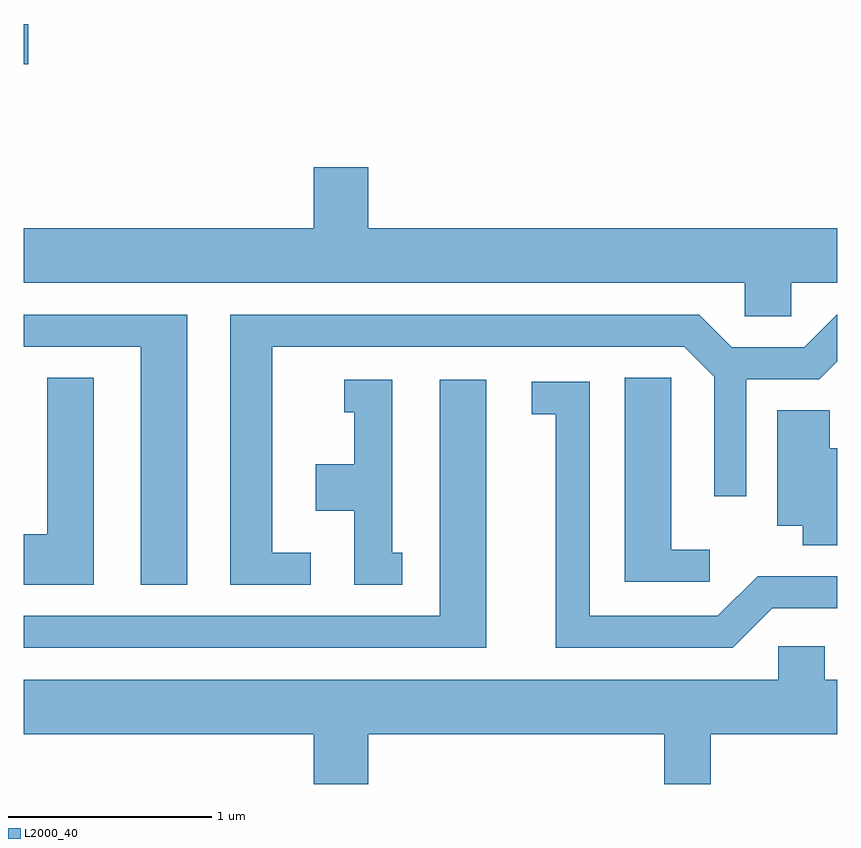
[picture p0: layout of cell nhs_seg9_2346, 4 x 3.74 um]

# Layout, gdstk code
import gdstk
lib = gdstk.Library(unit=1e-6, precision=1e-09)
def R(c, l, rs):  # rectangles x0, y0, x1, y1
    for r in rs: c.add(gdstk.rectangle(r[:2], r[2:], *l))
def P(c, l, *ps):  # polygons
    for p in ps: c.add(gdstk.Polygon(p, *l))
L2000_40 = (2000, 40)

nhs_seg9_2346 = lib.new_cell('nhs_seg9_2346')
R(nhs_seg9_2346, L2000_40, [(253.611,2023.971,253.634,2024.169)])
P(nhs_seg9_2346, L2000_40, [(257.384,2022.896),(257.611,2022.896),(257.611,2023.164),(255.304,2023.164),(255.304,2023.464),(255.036,2023.464),(255.036,2023.164),(253.611,2023.164),(253.611,2022.896),(257.156,2022.896),(257.156,2022.731),(257.384,2022.731)],
  [(254.414,2022.739),(253.611,2022.739),(253.611,2022.581),(254.186,2022.581),(254.186,2021.411),(254.414,2021.411)],
  [(255.023,2021.569),(254.834,2021.569),(254.834,2022.581),(256.859,2022.581),(257.006,2022.434),(257.006,2021.848),(257.164,2021.848),(257.164,2022.421),(257.522,2022.421),(257.611,2022.51),(257.611,2022.739),(257.609,2022.739),(257.449,2022.579),(257.092,2022.579),(256.932,2022.739),(254.626,2022.739),(254.626,2021.411),(255.023,2021.411)],
  [(253.954,2022.429),(253.726,2022.429),(253.726,2021.659),(253.611,2021.659),(253.611,2021.411),(253.954,2021.411)],
  [(256.983,2021.584),(256.794,2021.584),(256.794,2022.429),(256.566,2022.429),(256.566,2021.426),(256.983,2021.426)],
  [(255.884,2022.419),(255.656,2022.419),(255.656,2021.259),(253.611,2021.259),(253.611,2021.101),(255.884,2021.101)],
  [(255.473,2021.569),(255.424,2021.569),(255.424,2022.419),(255.188,2022.419),(255.188,2022.261),(255.236,2022.261),(255.236,2022.004),(255.046,2022.004),(255.046,2021.776),(255.236,2021.776),(255.236,2021.411),(255.473,2021.411)],
  [(257.291,2021.296),(257.611,2021.296),(257.611,2021.454),(257.219,2021.454),(257.024,2021.259),(256.394,2021.259),(256.394,2022.409),(256.108,2022.409),(256.108,2022.251),(256.226,2022.251),(256.226,2021.101),(257.097,2021.101)],
  [(257.611,2022.084),(257.574,2022.084),(257.574,2022.269),(257.316,2022.269),(257.316,2021.701),(257.441,2021.701),(257.441,2021.606),(257.611,2021.606)],
  [(255.304,2020.676),(256.761,2020.676),(256.761,2020.432),(256.989,2020.432),(256.989,2020.676),(257.611,2020.676),(257.611,2020.944),(257.549,2020.944),(257.549,2021.109),(257.321,2021.109),(257.321,2020.944),(253.611,2020.944),(253.611,2020.676),(255.036,2020.676),(255.036,2020.432),(255.304,2020.432)])

lib.write_gds('nhs_seg9_2346.gds')
